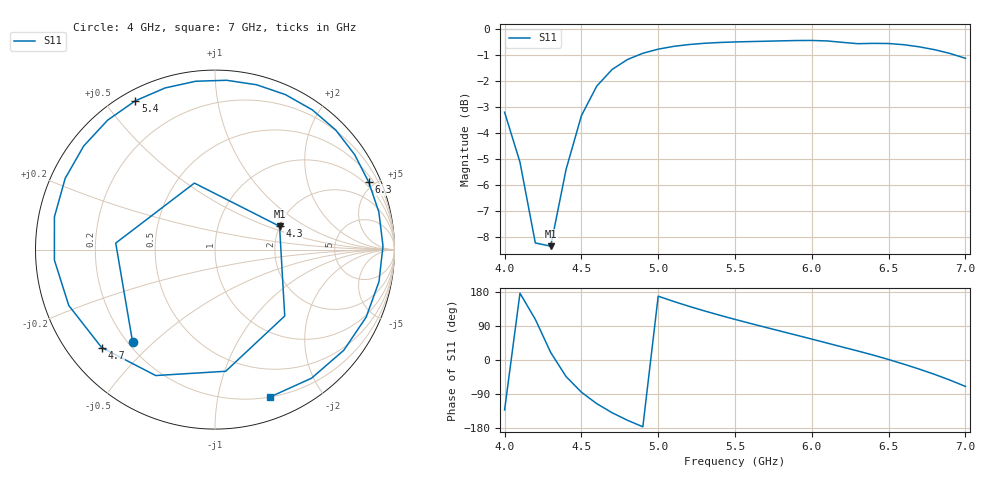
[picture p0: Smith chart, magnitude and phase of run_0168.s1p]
! Touchstone file exported from HFSS 2024.2.0
!  File:  C:/Users/wsak9/Desktop/Sim Fast/Widenad Patch/WP_AI_V1_sweep.aedt
!  Generated:  09:55:45 PM Oct 13, 2026
!  Design:  A1_model
!  Project:  WP_AI_V1_sweep
!  Setup:  Setup1
!  Solution:  Sweep
! Variables:
!  Air_gap = 2.85mm
!  Curve_Amp1 = 1.52
!  Curve_len1 = 1
!  Curve_pos = 13.455mm
!  Extra = 1.22mm
!  H_sub = 0.79mm
!  L_Patch = 22.91mm
!  L_Patch1 = 14.64mm
!  Sx = 3.48mm
!  Sy = 1.23mm
!  WS = 0.6mm
!  W_Patch = 21.16mm
!  W_Patch1 = 13.42mm
!Data is not renormalized
# GHz S MA
! Terminal data exported
! Port[1] = 1
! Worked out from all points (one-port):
!   31 points, 4 GHz to 7 GHz, reference per port
!   lowest |S11| = -8.3 dB at 4.3 GHz (marker M1), VSWR 2.24
!   |S11| at or under -10 dB: nowhere
!   S11 on the Smith chart (normalised r, x): 4 GHz: 0.22, -0.43; 4.3 GHz: 2.00, +0.61; 4.7 GHz: 0.10, -0.37; 5.4 GHz: 0.04, +0.60; 6.3 GHz: 0.77, +4.64; 7 GHz: 0.20, -1.42
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4  0.6908 -131.6
4.1  0.5543 176.3
4.2  0.3879 107.2
4.3  0.3824 19.9
4.4  0.5365 -43.6
4.5  0.6805 -85.0
4.6  0.7756 -115.2
4.7  0.8347 -139.2
4.8  0.8722 -159.1
4.9  0.8966 -176.3
5  0.913 168.5
5.1  0.9242 154.6
5.2  0.9318 141.7
5.3  0.937 129.7
5.4  0.9404 118.2
5.5  0.9426 107.2
5.6  0.9441 96.5
5.7  0.9456 86.1
5.9  0.9485 65.5
6.1  0.9468 44.7
6.3  0.9353 23.7
6.4  0.9366 12.9
6.5  0.9361 1.3
6.6  0.931 -11.0
6.7  0.9224 -24.1
6.8  0.9108 -38.0
6.9  0.8959 -53.1
7  0.8768 -69.7
